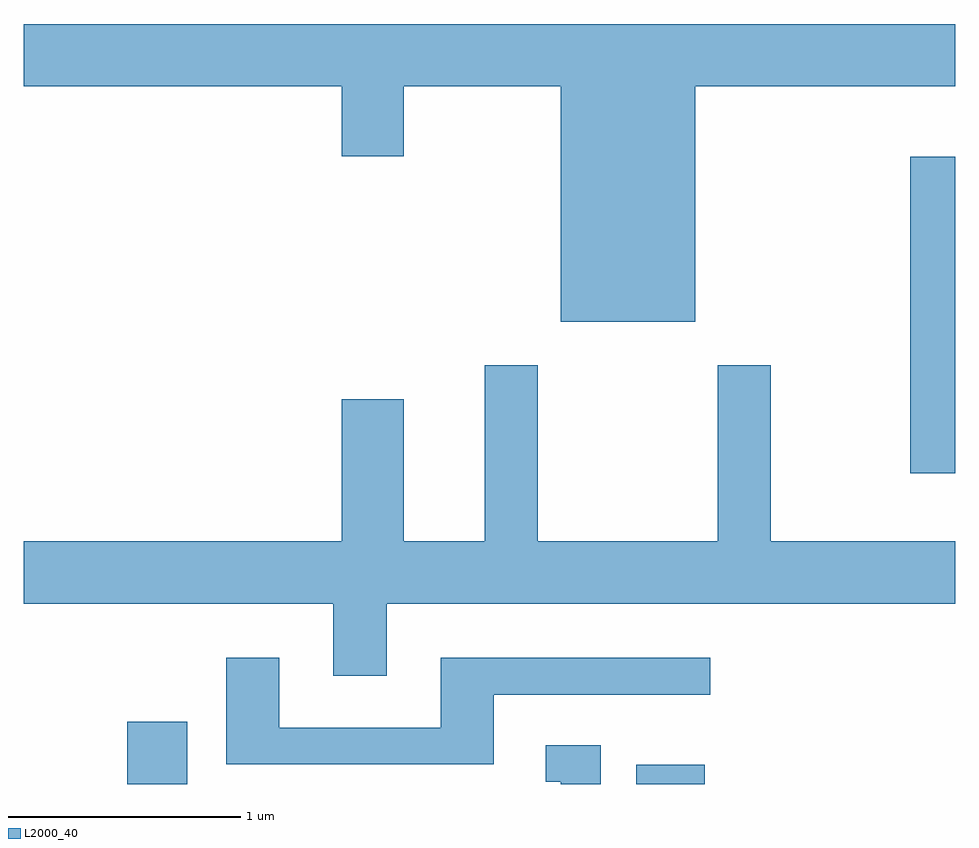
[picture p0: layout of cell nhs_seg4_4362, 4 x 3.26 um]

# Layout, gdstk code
import gdstk
lib = gdstk.Library(unit=1e-6, precision=1e-09)
def R(c, l, rs):  # rectangles x0, y0, x1, y1
    for r in rs: c.add(gdstk.rectangle(r[:2], r[2:], *l))
def P(c, l, *ps):  # polygons
    for p in ps: c.add(gdstk.Polygon(p, *l))
L2000_40 = (2000, 40)

nhs_seg4_4362 = lib.new_cell('nhs_seg4_4362')
R(nhs_seg4_4362, L2000_40, [(314.056,1273.982,314.314,1274.249), (316.241,1273.982,316.534,1274.064), (317.416,1275.316,317.611,1276.674)])
P(nhs_seg4_4362, L2000_40, [(316.494,1276.976),(317.611,1276.976),(317.611,1277.244),(313.611,1277.244),(313.611,1276.976),(314.976,1276.976),(314.976,1276.676),(315.244,1276.676),(315.244,1276.976),(315.916,1276.976),(315.916,1275.966),(316.494,1275.966)],
  [(315.169,1274.756),(317.611,1274.756),(317.611,1275.024),(316.819,1275.024),(316.819,1275.779),(316.591,1275.779),(316.591,1275.024),(315.819,1275.024),(315.819,1275.779),(315.591,1275.779),(315.591,1275.024),(315.244,1275.024),(315.244,1275.634),(314.976,1275.634),(314.976,1275.024),(313.611,1275.024),(313.611,1274.756),(314.941,1274.756),(314.941,1274.446),(315.169,1274.446)],
  [(315.629,1274.366),(316.558,1274.366),(316.558,1274.524),(315.401,1274.524),(315.401,1274.224),(314.709,1274.224),(314.709,1274.524),(314.481,1274.524),(314.481,1274.066),(315.629,1274.066)],
  [(316.089,1274.149),(315.853,1274.149),(315.853,1273.991),(315.916,1273.991),(315.916,1273.982),(316.089,1273.982)])

lib.write_gds('nhs_seg4_4362.gds')
